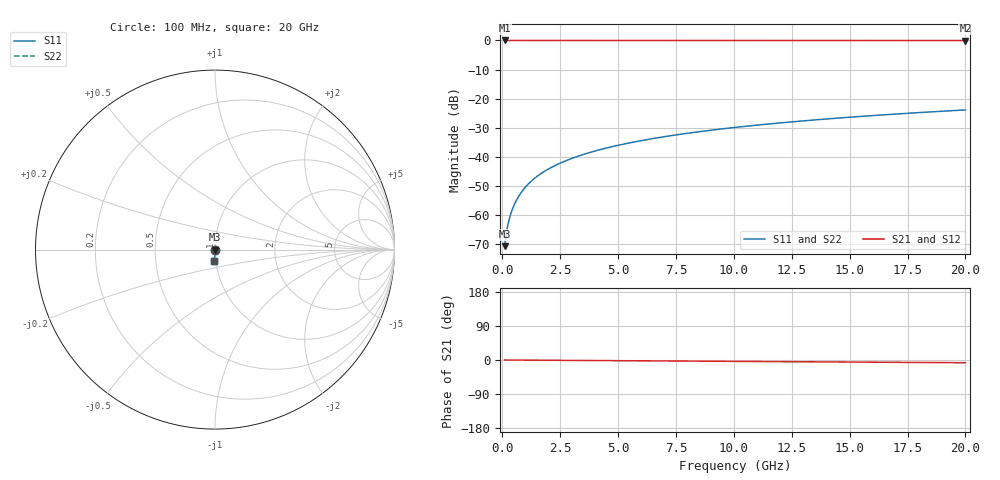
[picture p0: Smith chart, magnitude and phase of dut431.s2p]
! Touchstone file exported from HFSS 2026.1.0
!  File:  C:/ffzhzh/LocalFiles/Ansys_Project_Files/temp_train_TSV_431_1783021163_51716.aedt
!  Generated:  03:40:56 AM Jul  3, 2026
!  Design:  TSV
!  Project:  temp_train_TSV_431_1783021163_51716
! Variables:
!  h_bsmrdl = 2um
!  h_ox = 20um
!  h_rdl = 5um
!  h_sub = 64.8um
!  h_tmrdl = 5um
!  h_tsv = 64.8um
!  h_via = 3um
!  l_bsmrdl = 300um
!  l_sub = 424.02um
!  l_tmrdl = 200um
!  m_sub = 200um
!  pitch = 31.38um
!  r_tsv = 12.01um
!  s_tmrdl = 10um
!  w_bsmrdl = 18um
!  w_sub = 500um
!  w_tmrdl = 12um
!  x_tsv_center1 = 206um
!  x_tsv_center2 = 524um
!  x_tsv_center3 = 736um
!  x_tsv_center4 = 1054um
!  x_tsv_center5 = 1266um
!  x_tsv_center6 = 1584um
# GHz S MA R 50.000000
! Terminal data exported
! Port[1] = TSV1_1_T1
! Port[2] = TSV1_1_T2
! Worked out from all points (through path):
!   200 points, 100 MHz to 20 GHz, reference 50 ohm
!   highest |S21| = 0.00 dB at 100 MHz (marker M1); lowest = 0.0 dB at 20 GHz (marker M2)
!   lowest |S11| = -70.7 dB at 100 MHz (marker M3), VSWR 1.00, Z = 50 - j0.0276 ohm
!   |S11| at or under -10 dB: start of sweep to end of sweep
!   |S22| runs from -70.7 to -23.9 dB; largest |S21 - S12| = 1.4e-14
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0.1  0.0002916 -71.3  0.9999 -0.0  0.9999 -0.0  0.0002916 -71.3
! Gamma 0 0 0 0
! Port Impedance 50 0 50 0
0.2  0.0005669 -79.0  0.9999 -0.1  0.9999 -0.1  0.0005669 -79.0
0.3  0.0008537 -81.3  0.9999 -0.1  0.9999 -0.1  0.0008537 -81.3
0.4  0.001149 -82.4  0.9998 -0.2  0.9998 -0.2  0.001149 -82.4
0.5  0.001452 -83.0  0.9998 -0.2  0.9998 -0.2  0.001452 -83.0
0.7  0.002072 -84.0  0.9998 -0.3  0.9998 -0.3  0.002072 -84.0
0.8  0.002387 -84.4  0.9998 -0.3  0.9998 -0.3  0.002387 -84.4
1  0.003021 -85.1  0.9997 -0.4  0.9997 -0.4  0.003021 -85.1
1.2  0.003657 -85.7  0.9997 -0.4  0.9997 -0.4  0.003657 -85.7
1.4  0.004294 -86.2  0.9997 -0.5  0.9997 -0.5  0.004294 -86.2
1.7  0.005248 -86.8  0.9996 -0.6  0.9996 -0.6  0.005248 -86.8
2  0.006203 -87.3  0.9996 -0.7  0.9996 -0.7  0.006203 -87.3
2.7  0.008429 -88.1  0.9995 -1.0  0.9995 -1.0  0.008429 -88.1
3.5  0.01098 -88.8  0.9995 -1.3  0.9995 -1.3  0.01098 -88.8
4.2  0.01321 -89.3  0.9994 -1.5  0.9994 -1.5  0.01321 -89.3
5  0.01578 -89.7  0.9993 -1.8  0.9993 -1.8  0.01578 -89.7
6.8  0.02156 -90.7  0.9991 -2.5  0.9991 -2.5  0.02156 -90.7
8.3  0.02639 -91.4  0.9989 -3.0  0.9989 -3.0  0.02639 -91.4
10.1  0.03219 -92.2  0.9987 -3.7  0.9987 -3.7  0.03219 -92.2
13.4  0.04281 -93.6  0.9981 -4.8  0.9981 -4.8  0.04281 -93.6
16.7  0.05343 -94.9  0.9975 -6.0  0.9975 -6.0  0.05343 -94.9
20  0.06402 -96.1  0.9968 -7.2  0.9968 -7.2  0.06403 -96.1
